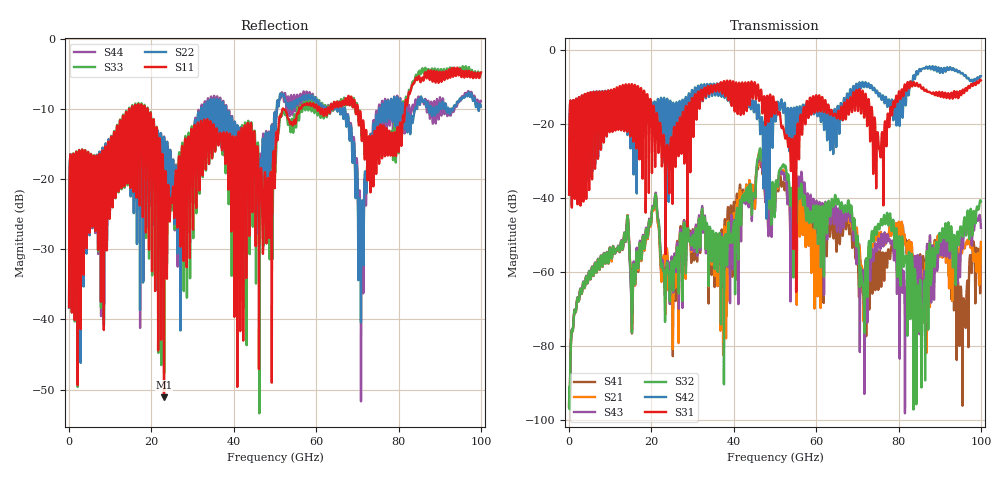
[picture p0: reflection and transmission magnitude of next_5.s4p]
# Hz S RI R 50
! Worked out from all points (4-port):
!   10000 points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, 10 MHz to 100 GHz, reference 50 ohm
!   strongest paths, dB at 10 MHz, 25.01 GHz, 50.01 GHz, 75.01 GHz, 100 GHz:
!     S31: -39.0, -29.1, -15.5, -22.8, -8.1
!     S42: -39.1, -23.6, -16.0, -11.7, -6.9
!     S32: -96.3, -57.6, -41.9, -47.1, -40.9
!     S43: -96.5, -56.8, -43.6, -51.9, -48.0
!     S21: -96.4, -61.5, -40.1, -49.3, -51.8
!     S41: -96.6, -59.1, -43.1, -60.0, -53.3
!   lowest |S11| = -51.1 dB at 23.05 GHz (marker M1), VSWR 1.01, Z = 50.2 + j0.147 ohm
!   |S11| at or under -10 dB: start of sweep to 14.56 GHz; 19.08 GHz to 51.81 GHz (32.74 GHz wide, 92.4 % of centre); 70.14 GHz to 81.56 GHz (11.42 GHz wide, 15.1 % of centre)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
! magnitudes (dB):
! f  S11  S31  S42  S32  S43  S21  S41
! 10 MHz  -38.2  -39.0  -39.1  -96.3  -96.5  -96.4  -96.6
! 20.75 GHz  -16.5  -19.7  -13.8  -41.0  -40.5  -41.5  -41.1
! 23.05 GHz  -51.1  -23.5  -12.8  -59.9  -60.0  -55.5  -58.3
! 46.46 GHz  -19.2  -11.3  -22.4  -26.7  -28.1  -28.7  -30.3
! 54.78 GHz  -11.6  -23.6  -20.2  -38.5  -37.9  -42.9  -41.1
! 85.4 GHz  -6.1  -9.9  -5.6  -68.8  -57.2  -73.1  -59.6
! 100 GHz  -4.7  -8.1  -6.9  -40.9  -48.0  -51.8  -53.3
